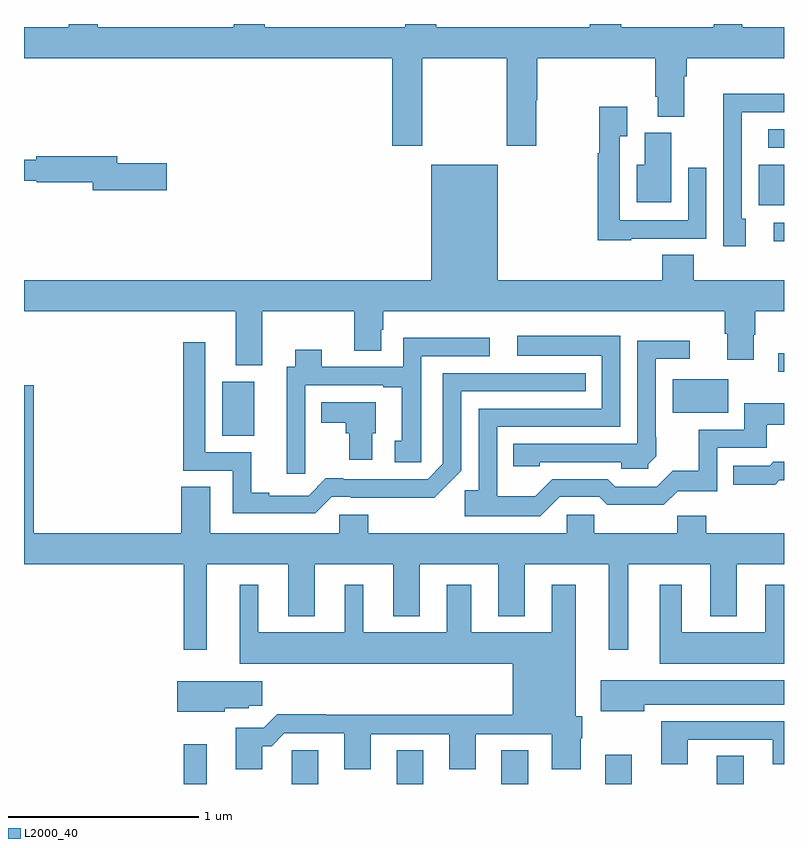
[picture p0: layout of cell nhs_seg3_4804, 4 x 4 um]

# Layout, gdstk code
import gdstk
lib = gdstk.Library(unit=1e-6, precision=1e-09)
def R(c, l, rs):  # rectangles x0, y0, x1, y1
    for r in rs: c.add(gdstk.rectangle(r[:2], r[2:], *l))
def P(c, l, *ps):  # polygons
    for p in ps: c.add(gdstk.Polygon(p, *l))
L2000_40 = (2000, 40)

nhs_seg3_4804 = lib.new_cell('nhs_seg3_4804')
R(nhs_seg3_4804, L2000_40, [(369.84,726.4,369.961,726.61), (370.41,726.4,370.549,726.578), (370.961,726.4,371.101,726.578), (371.513,726.4,371.653,726.578), (372.059,726.4,372.199,726.553), (372.647,726.4,372.787,726.548), (370.043,728.234,370.213,728.518), (372.414,728.354,372.707,728.53), (372.969,728.57,373,728.667), (372.945,729.257,373,729.354), (372.866,729.447,373,729.658), (372.918,729.75,373,729.846)])
P(nhs_seg3_4804, L2000_40, [(371.006,730.384),(370.268,730.384),(370.268,730.4),(370.103,730.4),(370.103,730.384),(369.389,730.384),(369.389,730.4),(369.236,730.4),(369.236,730.384),(369,730.384),(369,730.22),(370.937,730.22),(370.937,729.759),(371.097,729.759),(371.097,730.22),(371.542,730.22),(371.542,729.759),(371.697,729.759),(371.697,729.998),(371.702,729.998),(371.702,730.22),(372.323,730.22),(372.323,730.018),(372.335,730.018),(372.335,729.913),(372.475,729.913),(372.475,730.124),(372.488,730.124),(372.488,730.22),(373,730.22),(373,730.384),(372.781,730.384),(372.781,730.4),(372.629,730.4),(372.629,730.384),(372.143,730.384),(372.143,730.4),(371.978,730.4),(371.978,730.384),(371.171,730.384),(371.171,730.4),(371.006,730.4)],
  [(372.799,729.375),(372.777,729.375),(372.777,729.936),(373,729.936),(373,730.034),(372.68,730.034),(372.68,729.73),(372.681,729.73),(372.681,729.231),(372.799,729.231)],
  [(372.195,729.27),(372.591,729.27),(372.591,729.643),(372.495,729.643),(372.495,729.366),(372.135,729.366),(372.135,729.808),(372.175,729.808),(372.175,729.964),(372.027,729.964),(372.027,729.719),(372.019,729.719),(372.019,729.263),(372.195,729.263)],
  [(372.406,729.828),(372.266,729.828),(372.266,729.658),(372.224,729.658),(372.224,729.461),(372.406,729.461)],
  [(369.751,729.668),(369.49,729.668),(369.49,729.704),(369.064,729.704),(369.064,729.685),(369,729.685),(369,729.576),(369.066,729.576),(369.066,729.568),(369.362,729.568),(369.362,729.526),(369.751,729.526)],
  [(372.524,729.185),(372.359,729.185),(372.359,729.052),(371.494,729.052),(371.494,729.658),(371.144,729.658),(371.144,729.052),(369,729.052),(369,728.888),(370.115,728.888),(370.115,728.603),(370.255,728.603),(370.255,728.888),(370.739,728.888),(370.739,728.68),(370.879,728.68),(370.879,728.79),(370.892,728.79),(370.892,728.888),(372.689,728.888),(372.689,728.769),(372.701,728.769),(372.701,728.634),(372.841,728.634),(372.841,728.764),(372.849,728.764),(372.849,728.888),(373,728.888),(373,729.052),(372.524,729.052)],
  [(371.821,727.911),(372.027,727.911),(372.07,727.869),(372.368,727.869),(372.44,727.94),(372.648,727.94),(372.648,728.169),(372.908,728.169),(372.908,728.291),(373,728.291),(373,728.404),(372.792,728.404),(372.792,728.265),(372.55,728.265),(372.55,728.049),(372.414,728.049),(372.33,727.965),(372.111,727.965),(372.072,728.004),(371.781,728.004),(371.691,727.914),(371.49,727.914),(371.49,728.28),(372.138,728.28),(372.138,728.758),(371.595,728.758),(371.595,728.654),(372.042,728.654),(372.042,728.376),(371.394,728.376),(371.394,727.946),(371.321,727.946),(371.321,727.808),(371.718,727.808)],
  [(370.481,728.274),(370.479,728.274),(370.479,728.499),(370.892,728.499),(370.892,728.487),(370.988,728.487),(370.988,728.207),(370.952,728.207),(370.952,728.094),(371.09,728.094),(371.09,728.206),(371.092,728.206),(371.092,728.652),(371.452,728.652),(371.452,728.749),(370.995,728.749),(370.995,728.595),(370.567,728.595),(370.567,728.686),(370.427,728.686),(370.427,728.595),(370.382,728.595),(370.382,728.034),(370.481,728.034)],
  [(372.285,728.084),(372.327,728.125),(372.327,728.224),(372.324,728.224),(372.324,728.637),(372.505,728.637),(372.505,728.734),(372.228,728.734),(372.228,728.19),(371.575,728.19),(371.575,728.073),(371.715,728.073),(371.715,728.094),(372.143,728.094),(372.143,728.058),(372.285,728.058)],
  [(370.62,727.911),(370.72,727.911),(370.72,727.907),(371.16,727.907),(371.301,728.048),(371.301,728.466),(371.957,728.466),(371.957,728.562),(371.205,728.562),(371.205,728.085),(371.124,728.004),(370.681,728.004),(370.681,728.009),(370.589,728.009),(370.498,727.918),(370.291,727.918),(370.291,727.933),(370.196,727.933),(370.196,728.145),(369.954,728.145),(369.954,728.725),(369.838,728.725),(369.838,728.049),(370.098,728.049),(370.098,727.824),(370.533,727.824)],
  [(369.961,727.556),(370.391,727.556),(370.391,727.283),(370.531,727.283),(370.531,727.556),(370.943,727.556),(370.943,727.283),(371.083,727.283),(371.083,727.556),(371.495,727.556),(371.495,727.283),(371.635,727.283),(371.635,727.556),(372.077,727.556),(372.077,727.107),(372.181,727.107),(372.181,727.556),(372.611,727.556),(372.611,727.283),(372.751,727.283),(372.751,727.556),(373,727.556),(373,727.72),(372.591,727.72),(372.591,727.813),(372.437,727.813),(372.437,727.72),(372.002,727.72),(372.002,727.818),(371.856,727.818),(371.856,727.72),(370.811,727.72),(370.811,727.818),(370.659,727.818),(370.659,727.72),(369.979,727.72),(369.979,727.964),(369.827,727.964),(369.827,727.72),(369.05,727.72),(369.05,728.5),(369,728.5),(369,727.556),(369.84,727.556),(369.84,727.107),(369.961,727.107)],
  [(370.834,728.247),(370.852,728.247),(370.852,728.409),(370.564,728.409),(370.564,728.301),(370.694,728.301),(370.694,728.247),(370.712,728.247),(370.712,728.106),(370.834,728.106)],
  [(372.975,727.998),(373,727.998),(373,728.095),(372.943,728.095),(372.924,728.076),(372.733,728.076),(372.733,727.976),(372.953,727.976)],
  [(370.255,726.599),(370.304,726.599),(370.371,726.666),(370.685,726.666),(370.685,726.477),(370.825,726.477),(370.825,726.663),(371.237,726.663),(371.237,726.477),(371.377,726.477),(371.377,726.663),(371.777,726.663),(371.777,726.477),(371.929,726.477),(371.929,726.64),(371.937,726.64),(371.937,726.756),(371.905,726.756),(371.905,727.45),(371.777,727.45),(371.777,727.198),(371.353,727.198),(371.353,727.45),(371.225,727.45),(371.225,727.198),(370.786,727.198),(370.786,727.45),(370.688,727.45),(370.688,727.198),(370.234,727.198),(370.234,727.45),(370.136,727.45),(370.136,727.034),(371.573,727.034),(371.573,726.764),(370.589,726.764),(370.589,726.767),(370.334,726.767),(370.263,726.696),(370.115,726.696),(370.115,726.477),(370.255,726.477)],
  [(373,727.45),(372.902,727.45),(372.902,727.198),(372.463,727.198),(372.463,727.45),(372.347,727.45),(372.347,727.034),(373,727.034)],
  [(372.265,726.818),(373,726.818),(373,726.946),(372.036,726.946),(372.036,726.782),(372.265,726.782)],
  [(370.056,726.8),(370.182,726.8),(370.182,726.811),(370.255,726.811),(370.255,726.94),(369.806,726.94),(369.806,726.779),(370.056,726.779)],
  [(372.493,726.633),(372.941,726.633),(372.941,726.504),(373,726.504),(373,726.729),(372.353,726.729),(372.353,726.504),(372.493,726.504)])

lib.write_gds('nhs_seg3_4804.gds')
